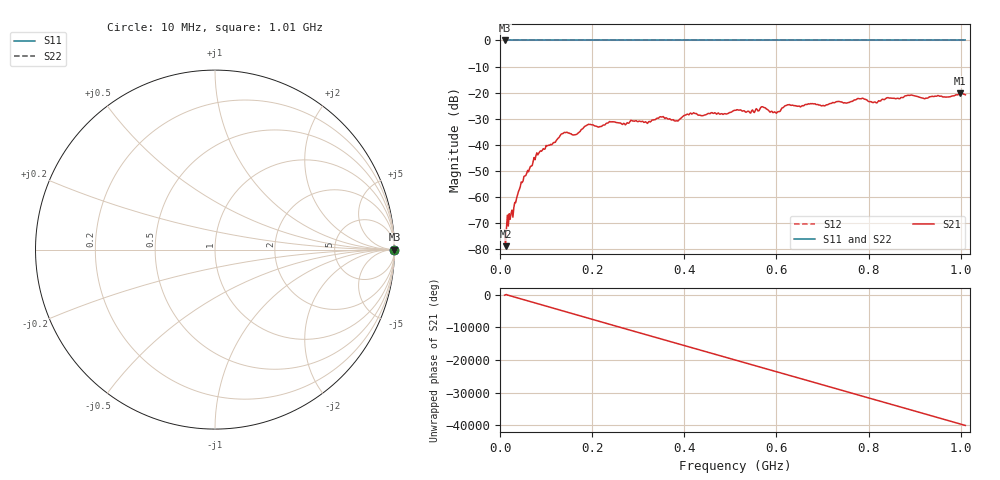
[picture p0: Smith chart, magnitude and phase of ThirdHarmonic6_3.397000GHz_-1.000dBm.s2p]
! 8/17/2025 10:50:31 AM
! C:\ANRITSUVNA\TEMP\TEMP.S2P
! CHANNEL.1
! TR.MEASUREMENT
! RAW.DATA
! RF.CORRECTION.OFF
! AVERAGING.OFF
! IF.BANDWIDTH: 5KHZ
! SWEEPTYPE:  FREQ.SWEEP(Linear)
! Reference Plane Port Info
! PORT:  PORT1  PORT2
! DISTANCE:  0  m  0  m
! TIME:  0  s  0  s
! PHASE.OFFSET:  0  deg.  0  deg.
! LOSS:  0  dB  0  dB
! REF.LOSS:  0  dB  0  dB
! REF.FREQ:  0  Hz  0  Hz
! Power Info
! POWER:  -20  dBm  -20  dBm
! EFF.POWER:  -20  dBm  -20  dBm
! SOURCE.ATTEN:  0  dB  0  dB
! TEST.ATTEN:  0  dB  0  dB
# GHZ S RI R 50.0
! FREQ.GHZ  S11RE  S11IM  S21RE  S21IM  S12RE  S12IM  S22RE  S22IM
!; PortSelection: Port_12
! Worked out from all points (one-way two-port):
!   501 points, 10 MHz to 1.01 GHz, reference 50 ohm
!   highest |S21| = -20.19 dB at 998 MHz (marker M1); lowest = -78.8 dB at 12 MHz (marker M2)
!   lowest |S11| = 0.0 dB at 10 MHz (marker M3)
!   |S11| at or under -10 dB: nowhere
!   |S22| runs from 0.0 to 0.0 dB; largest |S21 - S12| = 1.1
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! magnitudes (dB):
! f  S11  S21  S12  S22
! 10 MHz  0.0  -72.5  0.0  0.0
! 12 MHz  0.0  -78.8  0.0  0.0
! 48 MHz  0.0  -54.5  0.0  0.0
! 78 MHz  0.0  -44.1  0.0  0.0
! 136 MHz  0.0  -35.7  0.0  0.0
! 162 MHz  0.0  -36.2  0.0  0.0
! 178 MHz  0.0  -34.0  0.0  0.0
! 192 MHz  0.0  -32.1  0.0  0.0
! 322 MHz  0.0  -31.3  0.0  0.0
! 344 MHz  0.0  -29.8  0.0  0.0
! 382 MHz  0.0  -30.8  0.0  0.0
! 416 MHz  0.0  -28.2  0.0  0.0
! 510 MHz  0.0  -26.7  0.0  0.0
! 570 MHz  0.0  -25.4  0.0  0.0
! 596 MHz  0.0  -27.3  0.0  0.0
! 624 MHz  0.0  -24.7  0.0  0.0
! 678 MHz  0.0  -24.2  0.0  0.0
! 784 MHz  0.0  -22.3  0.0  0.0
! 814 MHz  0.0  -23.6  0.0  0.0
! 844 MHz  0.0  -22.0  0.0  0.0
! 998 MHz  0.0  -20.2  0.0  0.0
! 1.01 GHz  0.0  -20.8  0.0  0.0
